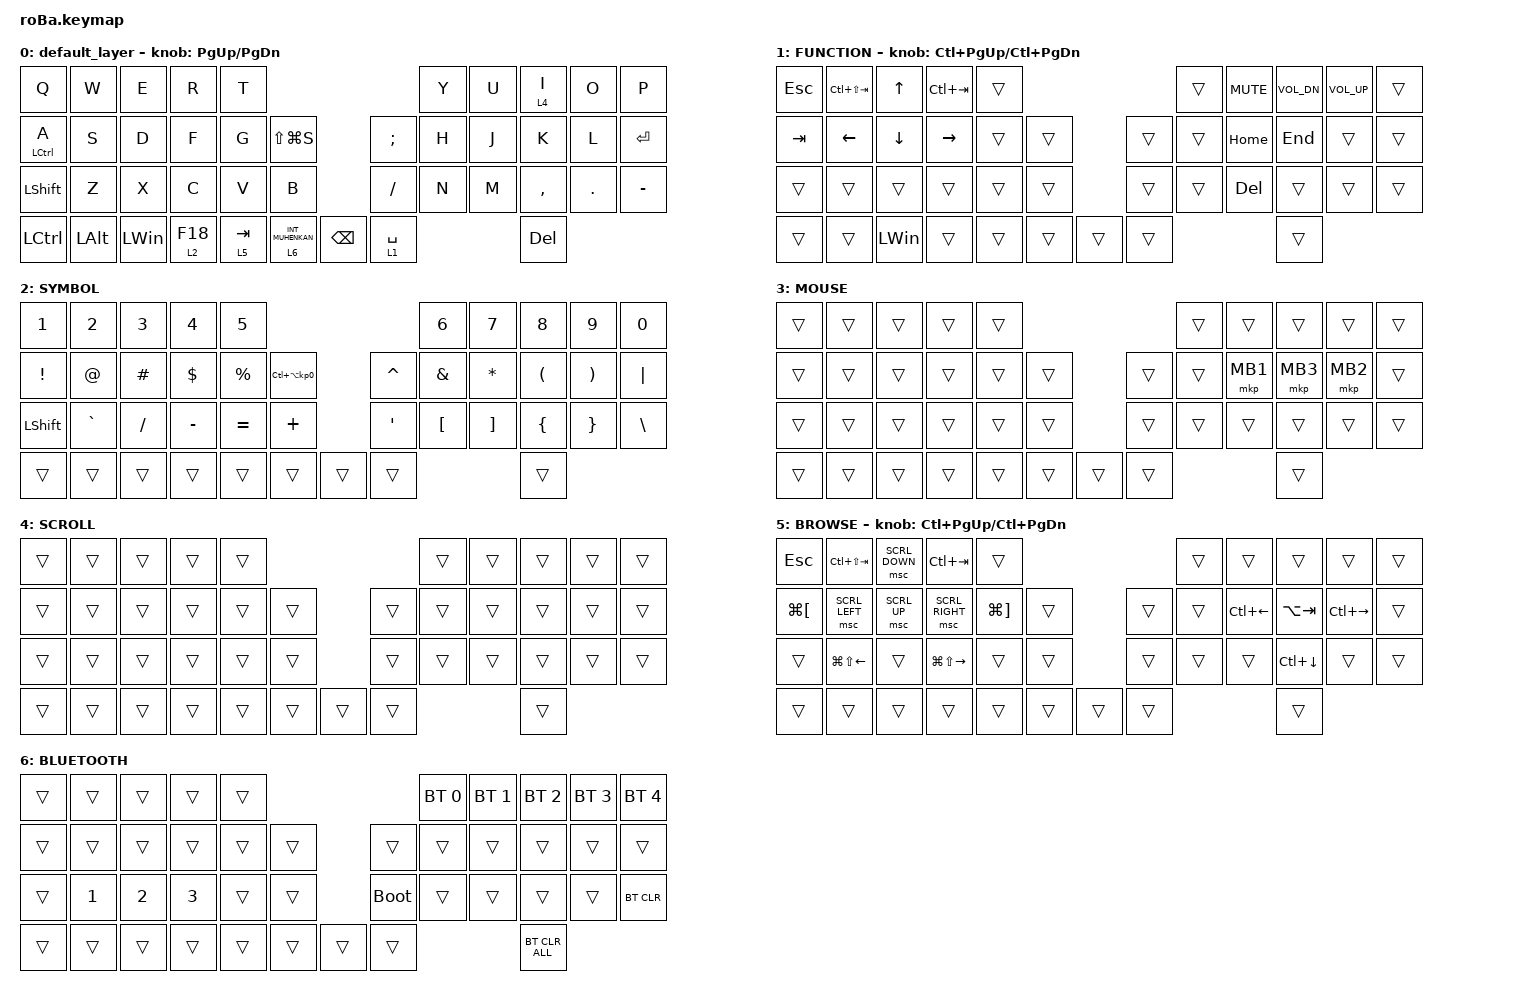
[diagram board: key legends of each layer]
#include <behaviors.dtsi>
#include <dt-bindings/zmk/bt.h>
#include <dt-bindings/zmk/keys.h>
#include <dt-bindings/zmk/pointing.h>

&mt {
    flavor = "balanced";
    quick-tap-ms = <0>;
};

&trackball {
    automouse-layer = <3>;
    scroll-layers = <4>;

    // arrows {
    //     layers = <3>;
    //     bindings =
    //         <&kp RIGHT_ARROW>,
    //         <&kp LEFT_ARROW>,
    //         <&kp UP_ARROW>,
    //         <&kp DOWN_ARROW>;

    //     tick = <10>;
    //     wait-ms = <5>;
    //     tap-ms = <5>;
    // };
};

/ {
    combos {
        compatible = "zmk,combos";

        muhennkann {
            bindings = <&to_layer_0 INT_MUHENKAN>;
            key-positions = <11 10>;
        };

        double_quotation {
            bindings = <&kp DOUBLE_QUOTES>;
            key-positions = <20 21>;
        };

        eq {
            bindings = <&kp EQUAL>;
            key-positions = <24 25>;
        };
    };

    macros {
        to_layer_0: to_layer_0 {
            compatible = "zmk,behavior-macro-one-param";
            #binding-cells = <1>;
            bindings = <&to 0 &macro_param_1to1 &kp MACRO_PLACEHOLDER>;
            label = "TO_LAYER_0";
        };
    };

    behaviors {
        scroll_up_down: behavior_sensor_rotate_mouse_wheel_up_down {
            compatible = "zmk,behavior-sensor-rotate";
            #sensor-binding-cells = <0>;
            bindings = <&msc SCRL_DOWN>, <&msc SCRL_UP>;
            tap-ms = <20>;
        };

        lt_to_layer_0: lt_to_layer_0 {
            compatible = "zmk,behavior-hold-tap";
            label = "LAYER_TAP_TO_0";
            bindings = <&mo>, <&to_layer_0>;

            #binding-cells = <2>;
            tapping-term-ms = <200>;
        };
    };

    keymap {
        compatible = "zmk,keymap";

        default_layer {
            bindings = <
&kp Q             &kp W         &kp E         &kp R                        &kp T                                                          &kp Y        &kp U  &lt 4 I    &kp O    &kp P
&mt LCTRL A       &kp S         &kp D         &kp F                        &kp G        &kp LS(LG(S))                      &kp SEMICOLON  &kp H        &kp J  &kp K      &kp L    &kp ENTER
&kp LEFT_SHIFT    &kp Z         &kp X         &kp C                        &kp V        &kp B                              &kp SLASH      &kp N        &kp M  &kp COMMA  &kp DOT  &kp MINUS
&kp LCTRL         &kp LEFT_ALT  &kp LEFT_WIN  &lt 2 F18    &lt 5 TAB    &lt_to_layer_0 6 INT_MUHENKAN      &kp BACKSPACE   &lt 1 SPACE                             &kp DEL
            >;

            sensor-bindings = <&inc_dec_kp PG_UP PG_DN>;
        };

        FUNCTION {
            bindings = <
&kp ESCAPE      &kp LC(LS(TAB))         &kp UP_ARROW    &kp LC(TAB)              &trans                       &trans      &kp C_MUTE    &kp C_VOL_DN  &kp C_VOL_UP  &trans
&kp TAB         &kp LEFT_ARROW          &kp DOWN_ARROW  &kp RIGHT_ARROW          &trans   &trans      &trans  &trans      &kp HOME          &kp END             &trans         &trans
&trans          &trans                  &trans          &trans                   &trans   &trans      &trans  &trans      &kp DEL       &trans               &trans         &trans
&trans          &trans                  &kp LEFT_WIN    &trans                   &trans   &trans      &trans  &trans                                              &trans
            >;

            sensor-bindings = <&inc_dec_kp LC(PAGE_UP) LC(PAGE_DOWN)>;
        };

        SYMBOL {
            bindings = <
&kp N1                      &kp N2           &kp N3           &kp N4           &kp N5                                                     &kp N6            &kp N7             &kp N8          &kp N9                &kp N0
&kp EXCLAMATION             &kp AT_SIGN      &kp HASH         &kp DOLLAR       &kp PERCENT   &kp LC(LA(KP_NUMBER_0))      &kp CARET       &kp AMPERSAND     &kp ASTERISK       &kp LEFT_PARENTHESIS  &kp RIGHT_PARENTHESIS  &kp PIPE
&kp LEFT_SHIFT              &kp GRAVE        &kp SLASH        &kp MINUS        &kp EQUAL     &kp PLUS                     &kp SQT         &kp LEFT_BRACKET  &kp RIGHT_BRACKET  &kp LEFT_BRACE  &kp RIGHT_BRACE       &kp BACKSLASH
&trans                      &trans           &trans           &trans           &trans        &trans                       &trans          &trans                                                                     &trans
            >;
        };

        MOUSE {
            bindings = <
&trans  &trans  &trans  &trans  &trans                      &trans  &trans    &trans    &trans    &trans
&trans  &trans  &trans  &trans  &trans  &trans      &trans  &trans  &mkp MB1  &mkp MB3  &mkp MB2  &trans
&trans  &trans  &trans  &trans  &trans  &trans      &trans  &trans  &trans    &trans    &trans    &trans
&trans  &trans  &trans  &trans  &trans  &trans      &trans  &trans                                &trans
            >;
        };

        SCROLL {
            bindings = <
&trans  &trans  &trans  &trans  &trans                      &trans  &trans  &trans  &trans  &trans
&trans  &trans  &trans  &trans  &trans  &trans      &trans  &trans  &trans  &trans  &trans  &trans
&trans  &trans  &trans  &trans  &trans  &trans      &trans  &trans  &trans  &trans  &trans  &trans
&trans  &trans  &trans  &trans  &trans  &trans      &trans  &trans                          &trans
            >;
        };

        BROWSE {
            bindings = <
&kp ESC          &kp LC(LS(TAB))  &msc SCRL_DOWN  &kp LC(TAB)      &trans                    &trans  &trans  &trans  &trans  &trans
&kp LG(LBKT)     &msc SCRL_LEFT   &msc SCRL_UP    &msc SCRL_RIGHT  &kp LG(RBKT)  &trans      &trans  &trans        &kp LC(LEFT) &kp LA(TAB)    &kp LC(RIGHT)  &trans
&trans           &kp LG(LS(LEFT))  &trans          &kp LG(LS(RIGHT))  &trans      &trans      &trans  &trans        &trans        &kp LC(DOWN)  &trans  &trans
&trans  &trans           &trans          &trans           &trans  &trans      &trans  &trans                          &trans
            >;

            sensor-bindings = <&inc_dec_kp LC(PAGE_UP) LC(PAGE_DOWN)>;
        };

        BLUETOOTH {
            bindings = <
&trans  &trans        &trans        &trans        &trans                           &bt BT_SEL 0  &bt BT_SEL 1  &bt BT_SEL 2  &bt BT_SEL 3  &bt BT_SEL 4
&trans  &trans        &trans        &trans        &trans  &trans      &trans       &trans        &trans        &trans        &trans        &trans
&trans  &kp NUMBER_1  &kp NUMBER_2  &kp NUMBER_3  &trans  &trans      &bootloader  &trans        &trans        &trans        &trans        &bt BT_CLR
&trans  &trans        &trans        &trans        &trans  &trans      &trans       &trans                                                  &bt BT_CLR_ALL
            >;
        };
    };
};
